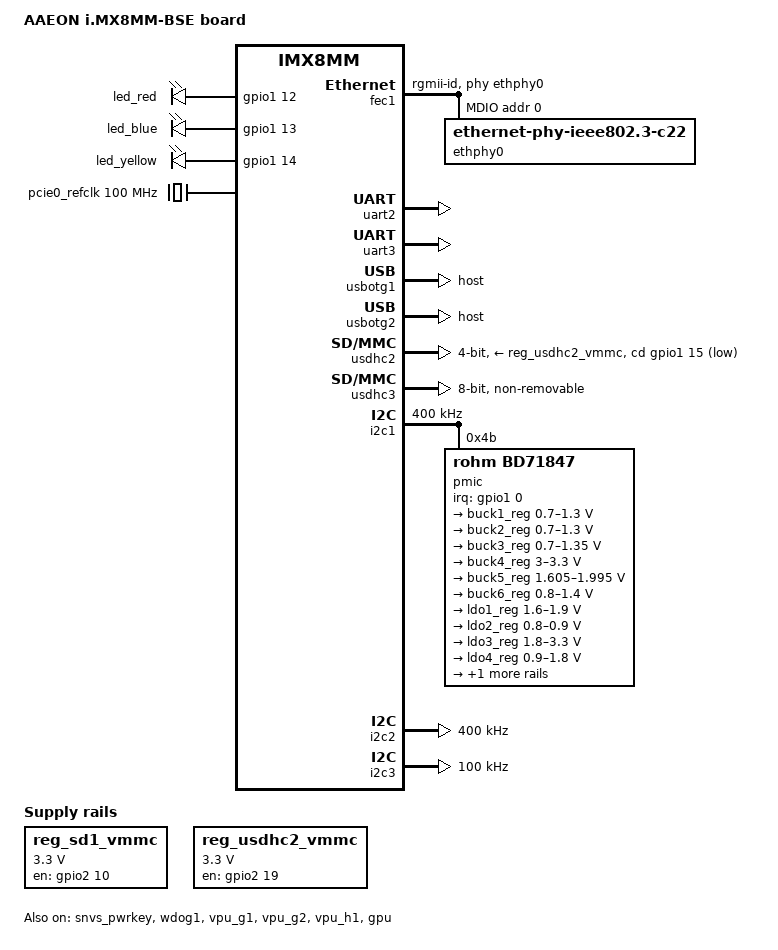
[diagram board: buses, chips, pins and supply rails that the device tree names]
// SPDX-License-Identifier: (GPL-2.0+ OR MIT)
/*
 * Copyright 2019 NXP
 */

/dts-v1/;

#include <dt-bindings/usb/pd.h>
#include "imx8mm.dtsi"

/ {
	model = "AAEON i.MX8MM-BSE board";
	compatible = "aaeon,imx8mm-bse", "fsl,imx8mm-evk", "fsl,imx8mm";

	reserved-memory {
		#address-cells = <2>;
		#size-cells = <2>;
		ranges;

		/* global autoconfigured region for contiguous allocations */
		linux,cma {
			compatible = "shared-dma-pool";
			reusable;
			size = <0 0x8000000>;
			alloc-ranges = <0 0x40000000 0 0x60000000>;
			linux,cma-default;
		};		

		rpmsg_reserved: rpmsg@0xb8000000 {
			no-map;
			reg = <0 0xb8000000 0 0x400000>;
		};
	};

	chosen {
		stdout-path = &uart2;
	};

	leds {
		compatible = "gpio-leds";
		pinctrl-names = "default";
		pinctrl-0 = <&pinctrl_gpio_led>;

		led0: led_read {
			label = "led_red";
			gpios = <&gpio1 12 GPIO_ACTIVE_HIGH>;
			/*
			function = LED_FUNCTION_STATUS;
			color =  <LED_COLOR_ID_RED>;
			*/
			default-state = "off";
		};

		led1: led_blue {
			label = "led_blue";
			gpios = <&gpio1 13 GPIO_ACTIVE_HIGH>;
			/*			
			function = LED_FUNCTION_STATUS;
			color = <LED_COLOR_ID_BLUE>;
			*/
			default-state = "off";
		};

		led2: led_yellow {
			label = "led_yellow";
			gpios = <&gpio1 14 GPIO_ACTIVE_HIGH>;
			/*
			function = LED_FUNCTION_STATUS;
			color = <LED_COLOR_ID_YELLOW>;
			*/
			default-state = "off";
		};
	};

	pcie0_refclk: pcie0-refclk {
		compatible = "fixed-clock";
		#clock-cells = <0>;
		clock-frequency = <100000000>;
	};

	reg_sd1_vmmc: sd1_regulator {
		compatible = "regulator-fixed";
		regulator-name = "WLAN_EN";
		regulator-min-microvolt = <3300000>;
		regulator-max-microvolt = <3300000>;
		gpio = <&gpio2 10 GPIO_ACTIVE_HIGH>;
		off-on-delay-us = <20000>;
		startup-delay-us = <100>;
		enable-active-high;
	};

	reg_usdhc2_vmmc: regulator-usdhc2 {
		compatible = "regulator-fixed";
		pinctrl-names = "default";
		pinctrl-0 = <&pinctrl_reg_usdhc2_vmmc>;
		regulator-name = "VSD_3V3";
		regulator-min-microvolt = <3300000>;
		regulator-max-microvolt = <3300000>;
		gpio = <&gpio2 19 GPIO_ACTIVE_HIGH>;
		off-on-delay-us = <20000>;
		enable-active-high;
	};
};

&A53_0 {
	cpu-supply = <&buck2_reg>;
};

&fec1 {
	pinctrl-names = "default";
	pinctrl-0 = <&pinctrl_fec1>;
	phy-mode = "rgmii-id";
	phy-handle = <&ethphy0>;
	fsl,magic-packet;
	status = "okay";

	mdio {
		#address-cells = <1>;
		#size-cells = <0>;

		ethphy0: ethernet-phy@0 {
			compatible = "ethernet-phy-ieee802.3-c22";
			reg = <0>;
			at803x,eee-disabled;
			at803x,vddio-1p8v;
		};
	};
};

&pcie0{
	pinctrl-names = "default";
	pinctrl-0 = <&pinctrl_pcie0>;
	disable-gpio = <&gpio1 5 GPIO_ACTIVE_LOW>;
	reset-gpio = <&gpio4 21 GPIO_ACTIVE_LOW>;
	clocks = <&clk IMX8MM_CLK_PCIE1_ROOT>,
		 <&clk IMX8MM_CLK_PCIE1_AUX>,
		 <&clk IMX8MM_CLK_PCIE1_PHY>,
		 <&pcie0_refclk>;
	clock-names = "pcie", "pcie_aux", "pcie_phy", "pcie_bus";
	ext_osc = <1>;
	reserved-region = <&rpmsg_reserved>;
	status = "disabled";
};

&snvs_pwrkey {
	status = "okay";
};

&uart2 { /* console */
	pinctrl-names = "default";
	pinctrl-0 = <&pinctrl_uart2>;
	status = "okay";
};

&uart3 {
	pinctrl-names = "default";
	pinctrl-0 = <&pinctrl_uart3>;
	assigned-clocks = <&clk IMX8MM_CLK_UART3>;
	assigned-clock-parents = <&clk IMX8MM_SYS_PLL1_80M>;
	fsl,uart-has-rtscts;
	status = "okay";
};

&usbotg1 {
	dr_mode = "host";
};

&usbotg2 {
	dr_mode = "host";
};

&usdhc2 {
	pinctrl-names = "default", "state_100mhz", "state_200mhz";
	pinctrl-0 = <&pinctrl_usdhc2>, <&pinctrl_usdhc2_gpio>;
	pinctrl-1 = <&pinctrl_usdhc2_100mhz>, <&pinctrl_usdhc2_gpio>;
	pinctrl-2 = <&pinctrl_usdhc2_200mhz>, <&pinctrl_usdhc2_gpio>;
	cd-gpios = <&gpio1 15 GPIO_ACTIVE_LOW>;
	bus-width = <4>;
	vmmc-supply = <&reg_usdhc2_vmmc>;
	status = "okay";
};

&usdhc3 {
	pinctrl-names = "default", "state_100mhz", "state_200mhz";
	pinctrl-0 = <&pinctrl_usdhc3>;
	pinctrl-1 = <&pinctrl_usdhc3_100mhz>;
	pinctrl-2 = <&pinctrl_usdhc3_200mhz>;
	bus-width = <8>;
	non-removable;
	status = "okay";
};

&wdog1 {
	pinctrl-names = "default";
	pinctrl-0 = <&pinctrl_wdog>;
	fsl,ext-reset-output;
	status = "okay";
};

&flexspi {
	pinctrl-names = "default";
	pinctrl-0 = <&pinctrl_flexspi0>;
	status = "disabled";
};

&i2c1 {
	clock-frequency = <400000>;
	pinctrl-names = "default";
	pinctrl-0 = <&pinctrl_i2c1>;
	status = "okay";

	pmic@4b {
		compatible = "rohm,bd71847";
		reg = <0x4b>;
		pinctrl-0 = <&pinctrl_pmic>;
		interrupt-parent = <&gpio1>;
		interrupts = <0 GPIO_ACTIVE_LOW>;
		rohm,reset-snvs-powered;

		regulators {
			buck1_reg: BUCK1 {
				regulator-name = "BUCK1";
				regulator-min-microvolt = <700000>;
				regulator-max-microvolt = <1300000>;
				regulator-boot-on;
				regulator-always-on;
				regulator-ramp-delay = <1250>;
			};

			buck2_reg: BUCK2 {
				regulator-name = "BUCK2";
				regulator-min-microvolt = <700000>;
				regulator-max-microvolt = <1300000>;
				regulator-boot-on;
				regulator-always-on;
				regulator-ramp-delay = <1250>;
				rohm,dvs-run-voltage = <1000000>;
				rohm,dvs-idle-voltage = <900000>;
			};

			buck3_reg: BUCK3 {
				// BUCK5 in datasheet
				regulator-name = "BUCK3";
				regulator-min-microvolt = <700000>;
				regulator-max-microvolt = <1350000>;
				regulator-boot-on;
				regulator-always-on;
			};

			buck4_reg: BUCK4 {
				// BUCK6 in datasheet
				regulator-name = "BUCK4";
				regulator-min-microvolt = <3000000>;
				regulator-max-microvolt = <3300000>;
				regulator-boot-on;
				regulator-always-on;
			};

			buck5_reg: BUCK5 {
				// BUCK7 in datasheet
				regulator-name = "BUCK5";
				regulator-min-microvolt = <1605000>;
				regulator-max-microvolt = <1995000>;
				regulator-boot-on;
				regulator-always-on;
			};

			buck6_reg: BUCK6 {
				// BUCK8 in datasheet
				regulator-name = "BUCK6";
				regulator-min-microvolt = <800000>;
				regulator-max-microvolt = <1400000>;
				regulator-boot-on;
				regulator-always-on;
			};

			ldo1_reg: LDO1 {
				regulator-name = "LDO1";
				regulator-min-microvolt = <1600000>;
				regulator-max-microvolt = <1900000>;
				regulator-boot-on;
				regulator-always-on;
			};

			ldo2_reg: LDO2 {
				regulator-name = "LDO2";
				regulator-min-microvolt = <800000>;
				regulator-max-microvolt = <900000>;
				regulator-boot-on;
				regulator-always-on;
			};

			ldo3_reg: LDO3 {
				regulator-name = "LDO3";
				regulator-min-microvolt = <1800000>;
				regulator-max-microvolt = <3300000>;
				regulator-boot-on;
				regulator-always-on;
			};

			ldo4_reg: LDO4 {
				regulator-name = "LDO4";
				regulator-min-microvolt = <900000>;
				regulator-max-microvolt = <1800000>;
				regulator-boot-on;
				regulator-always-on;
			};

			ldo6_reg: LDO6 {
				regulator-name = "LDO6";
				regulator-min-microvolt = <900000>;
				regulator-max-microvolt = <1800000>;
				regulator-boot-on;
				regulator-always-on;
			};
		};
	};
};

&i2c2 {
	clock-frequency = <400000>;
	pinctrl-names = "default";
	pinctrl-0 = <&pinctrl_i2c2>;
	status = "okay";
};

&i2c3 {
	clock-frequency = <100000>;
	pinctrl-names = "default";
	pinctrl-0 = <&pinctrl_i2c3>;
	status = "okay";
};

&iomuxc {
	pinctrl-names = "default";

	pinctrl_fec1: fec1grp {
		fsl,pins = <
			MX8MM_IOMUXC_ENET_MDC_ENET1_MDC			0x3
			MX8MM_IOMUXC_ENET_MDIO_ENET1_MDIO		0x3
			MX8MM_IOMUXC_ENET_TD3_ENET1_RGMII_TD3		0x1f
			MX8MM_IOMUXC_ENET_TD2_ENET1_RGMII_TD2		0x1f
			MX8MM_IOMUXC_ENET_TD1_ENET1_RGMII_TD1		0x1f
			MX8MM_IOMUXC_ENET_TD0_ENET1_RGMII_TD0		0x1f
			MX8MM_IOMUXC_ENET_RD3_ENET1_RGMII_RD3		0x91
			MX8MM_IOMUXC_ENET_RD2_ENET1_RGMII_RD2		0x91
			MX8MM_IOMUXC_ENET_RD1_ENET1_RGMII_RD1		0x91
			MX8MM_IOMUXC_ENET_RD0_ENET1_RGMII_RD0		0x91
			MX8MM_IOMUXC_ENET_TXC_ENET1_RGMII_TXC		0x1f
			MX8MM_IOMUXC_ENET_RXC_ENET1_RGMII_RXC		0x91
			MX8MM_IOMUXC_ENET_RX_CTL_ENET1_RGMII_RX_CTL	0x91
			MX8MM_IOMUXC_ENET_TX_CTL_ENET1_RGMII_TX_CTL	0x1f
			MX8MM_IOMUXC_SAI2_RXC_GPIO4_IO22			0x19
		>;
	};

	pinctrl_flexspi0: flexspi0grp {
		fsl,pins = <
			MX8MM_IOMUXC_NAND_ALE_QSPI_A_SCLK               0x1c2
			MX8MM_IOMUXC_NAND_CE0_B_QSPI_A_SS0_B            0x82
			MX8MM_IOMUXC_NAND_DATA00_QSPI_A_DATA0           0x82
			MX8MM_IOMUXC_NAND_DATA01_QSPI_A_DATA1           0x82
			MX8MM_IOMUXC_NAND_DATA02_QSPI_A_DATA2           0x82
			MX8MM_IOMUXC_NAND_DATA03_QSPI_A_DATA3           0x82
		>;
	};

	pinctrl_gpio_led: gpioledgrp {
		fsl,pins = <
			MX8MM_IOMUXC_GPIO1_IO12_GPIO1_IO12		0x19
			MX8MM_IOMUXC_GPIO1_IO13_GPIO1_IO13		0x19
			MX8MM_IOMUXC_GPIO1_IO14_GPIO1_IO14		0x19
		>;
	};

	pinctrl_led_red: led_red_grp {
		fsl,pins = <
			MX8MM_IOMUXC_GPIO1_IO12_GPIO1_IO12			0x19
		>;
	};

	pinctrl_led_blue: led_blue_grp {
		fsl,pins = <
			MX8MM_IOMUXC_GPIO1_IO13_GPIO1_IO13			0x19
		>;
	};

	pinctrl_led_green: led_green_grp {
		fsl,pins = <
			MX8MM_IOMUXC_GPIO1_IO14_GPIO1_IO14			0x19
		>;
	};

	pinctrl_usb_vbusctrls: usb1_vbus_grp {
		fsl,pins = <
			MX8MM_IOMUXC_GPIO1_IO03_GPIO1_IO3			0x09
			MX8MM_IOMUXC_GPIO1_IO01_GPIO1_IO1			0x09
			MX8MM_IOMUXC_GPIO1_IO05_GPIO1_IO5			0x09
			MX8MM_IOMUXC_GPIO1_IO06_GPIO1_IO6			0x09
			MX8MM_IOMUXC_GPIO1_IO07_GPIO1_IO7			0x09
			MX8MM_IOMUXC_GPIO1_IO08_GPIO1_IO8			0x09
		>;
	};

	pinctrl_i2c1: i2c1grp {
		fsl,pins = <
			MX8MM_IOMUXC_I2C1_SCL_I2C1_SCL			0x400001c3
			MX8MM_IOMUXC_I2C1_SDA_I2C1_SDA			0x400001c3
		>;
	};

	pinctrl_i2c2: i2c2grp {
		fsl,pins = <
			MX8MM_IOMUXC_I2C2_SCL_I2C2_SCL			0x400001c3
			MX8MM_IOMUXC_I2C2_SDA_I2C2_SDA			0x400001c3
		>;
	};

	pinctrl_i2c3: i2c3grp {
		fsl,pins = <
			MX8MM_IOMUXC_I2C3_SCL_I2C3_SCL			0x400001c3
			MX8MM_IOMUXC_I2C3_SDA_I2C3_SDA			0x400001c3
		>;
	};

	pinctrl_pcie0: pcie0grp {
		fsl,pins = <
			MX8MM_IOMUXC_I2C4_SCL_PCIE1_CLKREQ_B	0x61 /* open drain, pull up */
			MX8MM_IOMUXC_GPIO1_IO05_GPIO1_IO5	0x41
			MX8MM_IOMUXC_SAI2_RXFS_GPIO4_IO21	0x41
		>;
	};

	pinctrl_pmic: pmicirq {
		fsl,pins = <
			MX8MM_IOMUXC_GPIO1_IO00_GPIO1_IO0		0x41
		>;
	};

	pinctrl_reg_usdhc2_vmmc: regusdhc2vmmc {
		fsl,pins = <
			MX8MM_IOMUXC_SD2_RESET_B_GPIO2_IO19	0x41
		>;
	};

	pinctrl_uart2: uart2grp {
		fsl,pins = <
			MX8MM_IOMUXC_UART2_RXD_UART2_DCE_RX	0x140
			MX8MM_IOMUXC_UART2_TXD_UART2_DCE_TX	0x140
		>;
	};

	pinctrl_uart3: uart3grp {
		fsl,pins = <
			MX8MM_IOMUXC_ECSPI1_SCLK_UART3_DCE_RX		0x140
			MX8MM_IOMUXC_ECSPI1_MOSI_UART3_DCE_TX		0x140
			MX8MM_IOMUXC_ECSPI1_SS0_UART3_DCE_RTS_B		0x140
			MX8MM_IOMUXC_ECSPI1_MISO_UART3_DCE_CTS_B	0x140
		>;
	};

	pinctrl_usdhc1_gpio: usdhc1grpgpio {
		fsl,pins = <
			MX8MM_IOMUXC_SD1_RESET_B_GPIO2_IO10	0x41
		>;
	};

	pinctrl_usdhc1: usdhc1grp {
		fsl,pins = <
			MX8MM_IOMUXC_SD1_CLK_USDHC1_CLK		0x190
			MX8MM_IOMUXC_SD1_CMD_USDHC1_CMD		0x1d0
			MX8MM_IOMUXC_SD1_DATA0_USDHC1_DATA0	0x1d0
			MX8MM_IOMUXC_SD1_DATA1_USDHC1_DATA1	0x1d0
			MX8MM_IOMUXC_SD1_DATA2_USDHC1_DATA2	0x1d0
			MX8MM_IOMUXC_SD1_DATA3_USDHC1_DATA3	0x1d0
		>;
	};

	pinctrl_usdhc1_100mhz: usdhc1grp100mhz {
		fsl,pins = <
			MX8MM_IOMUXC_SD1_CLK_USDHC1_CLK		0x194
			MX8MM_IOMUXC_SD1_CMD_USDHC1_CMD		0x1d4
			MX8MM_IOMUXC_SD1_DATA0_USDHC1_DATA0	0x1d4
			MX8MM_IOMUXC_SD1_DATA1_USDHC1_DATA1	0x1d4
			MX8MM_IOMUXC_SD1_DATA2_USDHC1_DATA2	0x1d4
			MX8MM_IOMUXC_SD1_DATA3_USDHC1_DATA3	0x1d4
		>;
	};

	pinctrl_usdhc1_200mhz: usdhc1grp200mhz {
		fsl,pins = <
			MX8MM_IOMUXC_SD1_CLK_USDHC1_CLK		0x196
			MX8MM_IOMUXC_SD1_CMD_USDHC1_CMD		0x1d6
			MX8MM_IOMUXC_SD1_DATA0_USDHC1_DATA0	0x1d6
			MX8MM_IOMUXC_SD1_DATA1_USDHC1_DATA1	0x1d6
			MX8MM_IOMUXC_SD1_DATA2_USDHC1_DATA2	0x1d6
			MX8MM_IOMUXC_SD1_DATA3_USDHC1_DATA3	0x1d6
		>;
	};

	pinctrl_usdhc2_gpio: usdhc2grpgpio {
		fsl,pins = <
			MX8MM_IOMUXC_GPIO1_IO15_GPIO1_IO15	0x1c4
		>;
	};

	pinctrl_usdhc2: usdhc2grp {
		fsl,pins = <
			MX8MM_IOMUXC_SD2_CLK_USDHC2_CLK		0x190
			MX8MM_IOMUXC_SD2_CMD_USDHC2_CMD		0x1d0
			MX8MM_IOMUXC_SD2_DATA0_USDHC2_DATA0	0x1d0
			MX8MM_IOMUXC_SD2_DATA1_USDHC2_DATA1	0x1d0
			MX8MM_IOMUXC_SD2_DATA2_USDHC2_DATA2	0x1d0
			MX8MM_IOMUXC_SD2_DATA3_USDHC2_DATA3	0x1d0
			MX8MM_IOMUXC_GPIO1_IO04_USDHC2_VSELECT	0x1d0
		>;
	};

	pinctrl_usdhc2_100mhz: usdhc2grp100mhz {
		fsl,pins = <
			MX8MM_IOMUXC_SD2_CLK_USDHC2_CLK		0x194
			MX8MM_IOMUXC_SD2_CMD_USDHC2_CMD		0x1d4
			MX8MM_IOMUXC_SD2_DATA0_USDHC2_DATA0	0x1d4
			MX8MM_IOMUXC_SD2_DATA1_USDHC2_DATA1	0x1d4
			MX8MM_IOMUXC_SD2_DATA2_USDHC2_DATA2	0x1d4
			MX8MM_IOMUXC_SD2_DATA3_USDHC2_DATA3	0x1d4
			MX8MM_IOMUXC_GPIO1_IO04_USDHC2_VSELECT	0x1d0
		>;
	};

	pinctrl_usdhc2_200mhz: usdhc2grp200mhz {
		fsl,pins = <
			MX8MM_IOMUXC_SD2_CLK_USDHC2_CLK		0x196
			MX8MM_IOMUXC_SD2_CMD_USDHC2_CMD		0x1d6
			MX8MM_IOMUXC_SD2_DATA0_USDHC2_DATA0	0x1d6
			MX8MM_IOMUXC_SD2_DATA1_USDHC2_DATA1	0x1d6
			MX8MM_IOMUXC_SD2_DATA2_USDHC2_DATA2	0x1d6
			MX8MM_IOMUXC_SD2_DATA3_USDHC2_DATA3	0x1d6
			MX8MM_IOMUXC_GPIO1_IO04_USDHC2_VSELECT	0x1d0
		>;
	};

	pinctrl_usdhc3: usdhc3grp {
		fsl,pins = <
			MX8MM_IOMUXC_NAND_WE_B_USDHC3_CLK		0x190
			MX8MM_IOMUXC_NAND_WP_B_USDHC3_CMD		0x1d0
			MX8MM_IOMUXC_NAND_DATA04_USDHC3_DATA0		0x1d0
			MX8MM_IOMUXC_NAND_DATA05_USDHC3_DATA1		0x1d0
			MX8MM_IOMUXC_NAND_DATA06_USDHC3_DATA2		0x1d0
			MX8MM_IOMUXC_NAND_DATA07_USDHC3_DATA3		0x1d0
			MX8MM_IOMUXC_NAND_RE_B_USDHC3_DATA4		0x1d0
			MX8MM_IOMUXC_NAND_CE2_B_USDHC3_DATA5		0x1d0
			MX8MM_IOMUXC_NAND_CE3_B_USDHC3_DATA6		0x1d0
			MX8MM_IOMUXC_NAND_CLE_USDHC3_DATA7		0x1d0
			MX8MM_IOMUXC_NAND_CE1_B_USDHC3_STROBE 		0x190
		>;
	};

	pinctrl_usdhc3_100mhz: usdhc3grp100mhz {
		fsl,pins = <
			MX8MM_IOMUXC_NAND_WE_B_USDHC3_CLK		0x194
			MX8MM_IOMUXC_NAND_WP_B_USDHC3_CMD		0x1d4
			MX8MM_IOMUXC_NAND_DATA04_USDHC3_DATA0		0x1d4
			MX8MM_IOMUXC_NAND_DATA05_USDHC3_DATA1		0x1d4
			MX8MM_IOMUXC_NAND_DATA06_USDHC3_DATA2		0x1d4
			MX8MM_IOMUXC_NAND_DATA07_USDHC3_DATA3		0x1d4
			MX8MM_IOMUXC_NAND_RE_B_USDHC3_DATA4		0x1d4
			MX8MM_IOMUXC_NAND_CE2_B_USDHC3_DATA5		0x1d4
			MX8MM_IOMUXC_NAND_CE3_B_USDHC3_DATA6		0x1d4
			MX8MM_IOMUXC_NAND_CLE_USDHC3_DATA7		0x1d4
			MX8MM_IOMUXC_NAND_CE1_B_USDHC3_STROBE 		0x194
		>;
	};

	pinctrl_usdhc3_200mhz: usdhc3grp200mhz {
		fsl,pins = <
			MX8MM_IOMUXC_NAND_WE_B_USDHC3_CLK		0x196
			MX8MM_IOMUXC_NAND_WP_B_USDHC3_CMD		0x1d6
			MX8MM_IOMUXC_NAND_DATA04_USDHC3_DATA0		0x1d6
			MX8MM_IOMUXC_NAND_DATA05_USDHC3_DATA1		0x1d6
			MX8MM_IOMUXC_NAND_DATA06_USDHC3_DATA2		0x1d6
			MX8MM_IOMUXC_NAND_DATA07_USDHC3_DATA3		0x1d6
			MX8MM_IOMUXC_NAND_RE_B_USDHC3_DATA4		0x1d6
			MX8MM_IOMUXC_NAND_CE2_B_USDHC3_DATA5		0x1d6
			MX8MM_IOMUXC_NAND_CE3_B_USDHC3_DATA6		0x1d6
			MX8MM_IOMUXC_NAND_CLE_USDHC3_DATA7		0x1d6
			MX8MM_IOMUXC_NAND_CE1_B_USDHC3_STROBE 		0x196
		>;
	};

	pinctrl_wdog: wdoggrp {
		fsl,pins = <
			MX8MM_IOMUXC_GPIO1_IO02_WDOG1_WDOG_B	0xc6
		>;
	};
	
	pinctrl_ecspi2: ecspi2grp {
		fsl,pins = <
			MX8MM_IOMUXC_ECSPI2_SCLK_ECSPI2_SCLK        0x00001916
			MX8MM_IOMUXC_ECSPI2_MOSI_ECSPI2_MOSI        0x00000116
			MX8MM_IOMUXC_ECSPI2_MISO_ECSPI2_MISO        0x00000116
			MX8MM_IOMUXC_ECSPI2_SS0_GPIO5_IO13          0x00000116
		>;
	};
};

&vpu_g1 {
	status = "okay";
};

&vpu_g2 {
	status = "okay";
};

&vpu_h1 {
	status = "okay";
};

&gpu {
	status = "okay";
};
